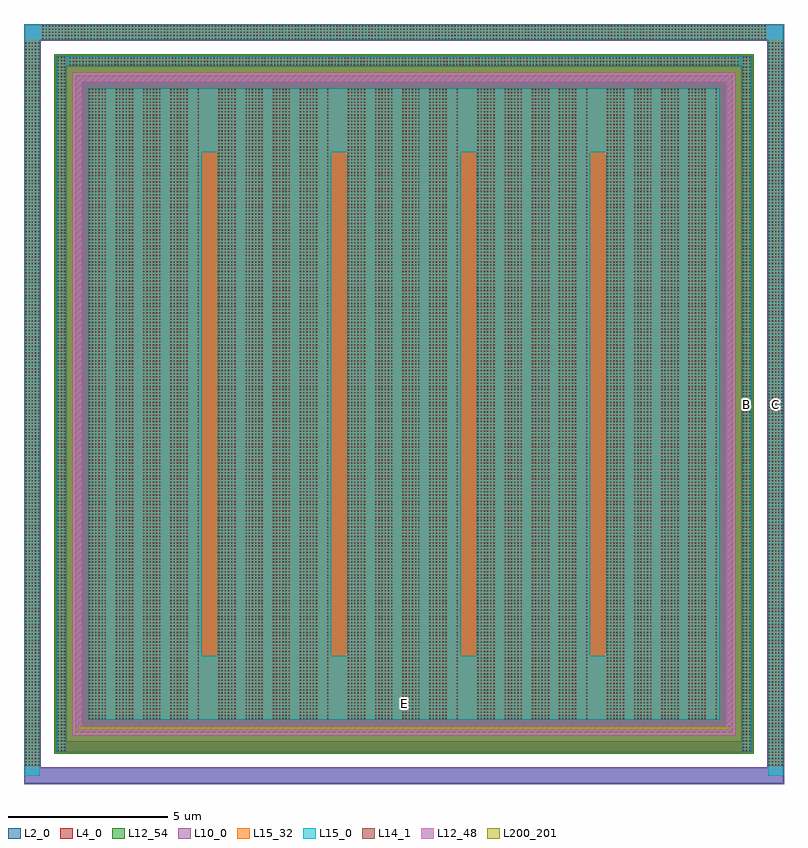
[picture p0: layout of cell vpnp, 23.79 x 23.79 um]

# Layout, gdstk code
import gdstk
lib = gdstk.Library(unit=1e-6, precision=1e-09)
def R(c, l, rs):  # rectangles x0, y0, x1, y1
    for r in rs: c.add(gdstk.rectangle(r[:2], r[2:], *l))
def A(c, l, x, y, w, h, nx, ny, dx, dy):  # array of equal rectangles
    R(c, l, [(x+i*dx, y+j*dy, x+i*dx+w, y+j*dy+h) for i in range(nx) for j in range(ny)])
L2_0 = (2, 0)
L4_0 = (4, 0)
L10_0 = (10, 0)
L12_48 = (12, 48)
L12_54 = (12, 54)
L14_1 = (14, 1)
L15_0 = (15, 0)
L15_32 = (15, 32)
L200_201 = (200, 201)

vpnp = lib.new_cell('vpnp')
R(vpnp, L2_0, [(-18.379,-10.409,5.373,-9.929), (-18.379,-9.929,-17.899,12.863), (4.893,-9.929,5.373,12.863), (-17.399,-9.429,4.393,-9.089), (-17.399,-9.089,-17.059,12.023), (4.053,-9.089,4.393,12.023), (-16.703,-8.733,3.697,11.667), (-17.399,12.023,4.393,12.363), (-18.379,12.863,5.373,13.343)])
R(vpnp, L4_0, [(-17.455,-9.485,4.449,12.419)])
R(vpnp, L10_0, [(-18.4,-10.43,5.394,-9.908), (-18.4,-9.908,-17.878,12.842), (4.872,-9.908,5.394,12.842), (-16.773,-8.803,3.767,11.737), (-18.4,12.842,5.394,13.364)])
R(vpnp, L12_48, [(-16.884,-8.914,3.878,-8.608), (-16.884,-8.608,-16.578,11.542), (3.572,-8.608,3.878,11.542), (-16.884,11.542,3.878,11.848)])
R(vpnp, L12_54, [(-17.455,-9.485,4.449,12.419)])
A(vpnp, L14_1, -18.359, -9.853, 0.04, 0.04, 5, 227, 0.1, 0.1)
A(vpnp, L14_1, 4.913, -9.853, 0.04, 0.04, 5, 227, 0.1, 0.1)
A(vpnp, L14_1, -17.349, -9.403, 0.04, 0.04, 3, 218, 0.1, 0.1)
A(vpnp, L14_1, 4.103, -9.403, 0.04, 0.04, 3, 218, 0.1, 0.1)
A(vpnp, L14_1, -16.373, -8.403, 0.04, 0.04, 6, 198, 0.1, 0.1)
A(vpnp, L14_1, -15.521, -8.403, 0.04, 0.04, 6, 198, 0.1, 0.1)
A(vpnp, L14_1, -14.669, -8.403, 0.04, 0.04, 6, 198, 0.1, 0.1)
A(vpnp, L14_1, -13.817, -8.403, 0.04, 0.04, 6, 198, 0.1, 0.1)
A(vpnp, L14_1, -12.965, -8.403, 0.04, 0.04, 1, 198, 0, 0.1)
A(vpnp, L14_1, -12.317, -8.403, 0.04, 0.04, 6, 198, 0.1, 0.1)
A(vpnp, L14_1, -11.465, -8.403, 0.04, 0.04, 6, 198, 0.1, 0.1)
A(vpnp, L14_1, -10.613, -8.403, 0.04, 0.04, 6, 198, 0.1, 0.1)
A(vpnp, L14_1, -9.761, -8.403, 0.04, 0.04, 6, 198, 0.1, 0.1)
A(vpnp, L14_1, -8.909, -8.403, 0.04, 0.04, 1, 198, 0, 0.1)
A(vpnp, L14_1, -8.262, -8.403, 0.04, 0.04, 6, 198, 0.1, 0.1)
A(vpnp, L14_1, -7.41, -8.403, 0.04, 0.04, 6, 198, 0.1, 0.1)
A(vpnp, L14_1, -6.558, -8.403, 0.04, 0.04, 6, 198, 0.1, 0.1)
A(vpnp, L14_1, -5.706, -8.403, 0.04, 0.04, 6, 198, 0.1, 0.1)
A(vpnp, L14_1, -4.854, -8.403, 0.04, 0.04, 1, 198, 0, 0.1)
A(vpnp, L14_1, -4.207, -8.403, 0.04, 0.04, 6, 198, 0.1, 0.1)
A(vpnp, L14_1, -3.355, -8.403, 0.04, 0.04, 6, 198, 0.1, 0.1)
A(vpnp, L14_1, -2.503, -8.403, 0.04, 0.04, 6, 198, 0.1, 0.1)
A(vpnp, L14_1, -1.651, -8.403, 0.04, 0.04, 6, 198, 0.1, 0.1)
A(vpnp, L14_1, -0.799, -8.403, 0.04, 0.04, 1, 198, 0, 0.1)
A(vpnp, L14_1, -0.152, -8.403, 0.04, 0.04, 6, 198, 0.1, 0.1)
A(vpnp, L14_1, 0.7, -8.403, 0.04, 0.04, 6, 198, 0.1, 0.1)
A(vpnp, L14_1, 1.552, -8.403, 0.04, 0.04, 6, 198, 0.1, 0.1)
A(vpnp, L14_1, 2.404, -8.403, 0.04, 0.04, 6, 198, 0.1, 0.1)
A(vpnp, L14_1, 3.256, -8.403, 0.04, 0.04, 1, 198, 0, 0.1)
A(vpnp, L14_1, -16.973, 12.073, 0.04, 0.04, 210, 3, 0.1, 0.1)
A(vpnp, L14_1, -17.823, 12.883, 0.04, 0.04, 227, 5, 0.1, 0.1)
A(vpnp, L15_0, -12.335, -6.421, 3.555, 15.776, 4, 1, 4.055, 0)
R(vpnp, L15_0, [(-18.377,-10.169,-17.901,13.341), (4.895,-10.169,5.371,13.341), (-17.367,-9.421,-17.091,12.355), (4.085,-9.421,4.361,12.355), (-16.391,-8.421,3.385,-6.421), (-16.391,-6.421,-12.836,9.355), (-16.391,9.355,3.385,11.355), (-17.091,12.055,4.085,12.355), (-17.901,12.865,4.895,13.341)])
R(vpnp, L15_32, [(-18.377,-9.871,-17.901,12.865), (4.895,-9.871,5.371,12.865), (-17.367,-9.421,-17.091,12.355), (4.085,-9.421,4.361,12.355), (-16.391,-8.421,3.385,11.355), (-16.991,12.055,3.985,12.331), (-17.841,12.865,4.835,13.341)])
R(vpnp, L200_201, [(-16.703,-8.733,3.697,-8.633)])
vpnp.add(gdstk.Label('E', (-6.503,-7.921), layer=15, texttype=20))
vpnp.add(gdstk.Label('B', (4.223,1.467), layer=15, texttype=20))
vpnp.add(gdstk.Label('C', (5.133,1.467), layer=15, texttype=20))

lib.write_gds('vpnp.gds')
